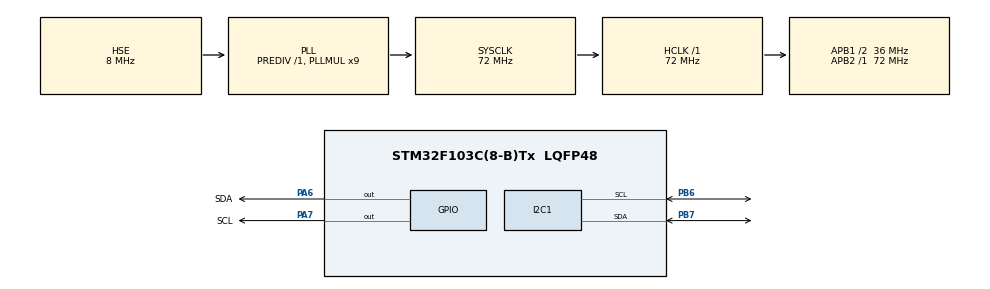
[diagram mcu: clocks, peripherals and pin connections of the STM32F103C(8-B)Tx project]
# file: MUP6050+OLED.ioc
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I2C1.I2C_Mode=I2C_Fast
Mcu.Family=STM32F1
Mcu.Name=STM32F103C(8-B)Tx
Mcu.Package=LQFP48
NVIC.PriorityGroup=NVIC_PRIORITYGROUP_4
PA13.Mode=Serial_Wire
PA13.Signal=SYS_JTMS-SWDIO
PA14.Mode=Serial_Wire
PA14.Signal=SYS_JTCK-SWCLK
PA6.GPIO_Label=SDA
PA6.GPIO_PuPd=GPIO_PULLUP
PA6.GPIO_Speed=GPIO_SPEED_FREQ_HIGH
PA6.Signal=GPIO_Output
PA7.GPIO_Label=SCL
PA7.GPIO_PuPd=GPIO_PULLUP
PA7.GPIO_Speed=GPIO_SPEED_FREQ_HIGH
PA7.Signal=GPIO_Output
PB6.Mode=I2C
PB6.Signal=I2C1_SCL
PB7.Mode=I2C
PB7.Signal=I2C1_SDA
PD0-OSC_IN.Mode=HSE-External-Oscillator
PD0-OSC_IN.Signal=RCC_OSC_IN
PD1-OSC_OUT.Mode=HSE-External-Oscillator
PD1-OSC_OUT.Signal=RCC_OSC_OUT
ProjectManager.HeapSize=0x200
ProjectManager.StackSize=0x400
ProjectManager.TargetToolchain=MDK-ARM V5.27
RCC.AHBFreq_Value=72000000
RCC.APB1CLKDivider=RCC_HCLK_DIV2
RCC.APB1Freq_Value=36000000
RCC.APB1TimFreq_Value=72000000
RCC.APB2Freq_Value=72000000
RCC.APB2TimFreq_Value=72000000
RCC.HCLKFreq_Value=72000000
RCC.PLLMUL=RCC_PLL_MUL9
RCC.PLLSourceVirtual=RCC_PLLSOURCE_HSE
RCC.SYSCLKFreq_VALUE=72000000
RCC.SYSCLKSource=RCC_SYSCLKSOURCE_PLLCLK
RCC.USBFreq_Value=72000000
board=custom

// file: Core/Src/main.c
/* USER CODE BEGIN Header */
/**
  ******************************************************************************
  * @file           : main.c
  * @brief          : Main program body
  ******************************************************************************
  * @attention
  *
  * <h2><center>&copy; Copyright (c) 2025 STMicroelectronics.
  * All rights reserved.</center></h2>
  *
  * This software component is licensed by ST under BSD 3-Clause license,
  * the "License"; You may not use this file except in compliance with the
  * License. You may obtain a copy of the License at:
  *                        opensource.org/licenses/BSD-3-Clause
  *
  ******************************************************************************
  */
/* USER CODE END Header */
#include "main.h"
#include "i2c.h"
#include "gpio.h"

/* USER CODE BEGIN Includes */
#include "MPU6050.h"
#include "stdio.h"
#include "OLED.h"
/* USER CODE END Includes */

/* USER CODE BEGIN PV */
float pitch,roll,yaw=0;
int ret;
char pitch_buff[16],yaw_buff[16],roll_buff[16];
/* USER CODE END PV */

void SystemClock_Config(void);

int main(void)
{

  /* MCU Configuration--------------------------------------------------------*/

  /* Reset of all peripherals, Initializes the Flash interface and the Systick. */
  HAL_Init();

  /* Configure the system clock */
  SystemClock_Config();

  /* Initialize all configured peripherals */
  MX_GPIO_Init();
  MX_I2C1_Init();
  /* USER CODE BEGIN 2 */
	do
	{
		ret=MPU6050_DMP_init();
	}while(ret);
	OLED_Init();
  /* USER CODE END 2 */

  /* Infinite loop */
  while (1)
  {

    /* USER CODE BEGIN 3 */
	  MPU6050_DMP_Get_Date(&pitch,&roll,&yaw);
	  sprintf(pitch_buff,"pitch:%.3f",pitch);
	  OLED_ShowString(1,1,pitch_buff);
	  sprintf(yaw_buff,"yaw:%-.3f",yaw);
	  OLED_ShowString(2,1,yaw_buff);
	  sprintf(roll_buff,"roll:%-.3f",roll);
	  OLED_ShowString(3,1,roll_buff);

  }
  /* USER CODE END 3 */
}

void SystemClock_Config(void)
{
  RCC_OscInitTypeDef RCC_OscInitStruct = {0};
  RCC_ClkInitTypeDef RCC_ClkInitStruct = {0};

  /** Initializes the RCC Oscillators according to the specified parameters
  * in the RCC_OscInitTypeDef structure.
  */
  RCC_OscInitStruct.OscillatorType = RCC_OSCILLATORTYPE_HSE;
  RCC_OscInitStruct.HSEState = RCC_HSE_ON;
  RCC_OscInitStruct.HSEPredivValue = RCC_HSE_PREDIV_DIV1;
  RCC_OscInitStruct.HSIState = RCC_HSI_ON;
  RCC_OscInitStruct.PLL.PLLState = RCC_PLL_ON;
  RCC_OscInitStruct.PLL.PLLSource = RCC_PLLSOURCE_HSE;
  RCC_OscInitStruct.PLL.PLLMUL = RCC_PLL_MUL9;
  if (HAL_RCC_OscConfig(&RCC_OscInitStruct) != HAL_OK)
  {
    Error_Handler();
  }
  /** Initializes the CPU, AHB and APB buses clocks
  */
  RCC_ClkInitStruct.ClockType = RCC_CLOCKTYPE_HCLK|RCC_CLOCKTYPE_SYSCLK
                              |RCC_CLOCKTYPE_PCLK1|RCC_CLOCKTYPE_PCLK2;
  RCC_ClkInitStruct.SYSCLKSource = RCC_SYSCLKSOURCE_PLLCLK;
  RCC_ClkInitStruct.AHBCLKDivider = RCC_SYSCLK_DIV1;
  RCC_ClkInitStruct.APB1CLKDivider = RCC_HCLK_DIV2;
  RCC_ClkInitStruct.APB2CLKDivider = RCC_HCLK_DIV1;

  if (HAL_RCC_ClockConfig(&RCC_ClkInitStruct, FLASH_LATENCY_2) != HAL_OK)
  {
    Error_Handler();
  }
}

void Error_Handler(void)
{
  __disable_irq();
  while (1)
  {
  }
}

/************************ (C) COPYRIGHT STMicroelectronics *****END OF FILE****/
